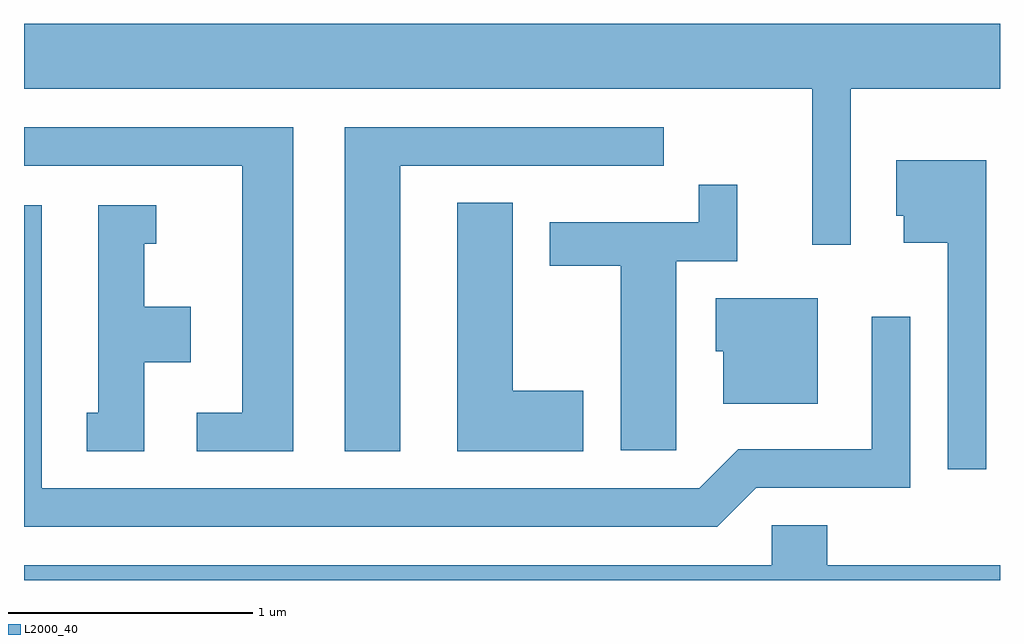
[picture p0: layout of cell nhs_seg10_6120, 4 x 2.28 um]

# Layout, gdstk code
import gdstk
lib = gdstk.Library(unit=1e-6, precision=1e-09)
def P(c, l, *ps):  # polygons
    for p in ps: c.add(gdstk.Polygon(p, *l))
L2000_40 = (2000, 40)

nhs_seg10_6120 = lib.new_cell('nhs_seg10_6120')
P(nhs_seg10_6120, L2000_40, [(368.999,2160.536),(369.611,2160.536),(369.611,2160.804),(365.611,2160.804),(365.611,2160.536),(368.841,2160.536),(368.841,2159.898),(368.999,2159.898)],
  [(367.154,2160.221),(368.233,2160.221),(368.233,2160.379),(366.926,2160.379),(366.926,2159.051),(367.154,2159.051)],
  [(366.714,2160.379),(365.611,2160.379),(365.611,2160.221),(366.506,2160.221),(366.506,2159.209),(366.318,2159.209),(366.318,2159.051),(366.714,2159.051)],
  [(369.554,2160.244),(369.186,2160.244),(369.186,2160.016),(369.216,2160.016),(369.216,2159.906),(369.396,2159.906),(369.396,2158.978),(369.554,2158.978)],
  [(368.284,2159.831),(368.534,2159.831),(368.534,2160.143),(368.376,2160.143),(368.376,2159.989),(367.766,2159.989),(367.766,2159.811),(368.056,2159.811),(368.056,2159.056),(368.284,2159.056)],
  [(367.904,2159.299),(367.614,2159.299),(367.614,2160.069),(367.386,2160.069),(367.386,2159.051),(367.904,2159.051)],
  [(368.612,2158.901),(369.244,2158.901),(369.244,2159.603),(369.086,2159.603),(369.086,2159.059),(368.539,2159.059),(368.379,2158.899),(365.684,2158.899),(365.684,2160.059),(365.611,2160.059),(365.611,2158.741),(368.452,2158.741)],
  [(366.104,2159.416),(366.294,2159.416),(366.294,2159.644),(366.104,2159.644),(366.104,2159.901),(366.153,2159.901),(366.153,2160.059),(365.916,2160.059),(365.916,2159.209),(365.868,2159.209),(365.868,2159.051),(366.104,2159.051)],
  [(368.864,2159.679),(368.446,2159.679),(368.446,2159.461),(368.476,2159.461),(368.476,2159.246),(368.864,2159.246)],
  [(369.611,2158.584),(368.904,2158.584),(368.904,2158.749),(368.676,2158.749),(368.676,2158.584),(365.611,2158.584),(365.611,2158.522),(369.611,2158.522)])

lib.write_gds('nhs_seg10_6120.gds')
